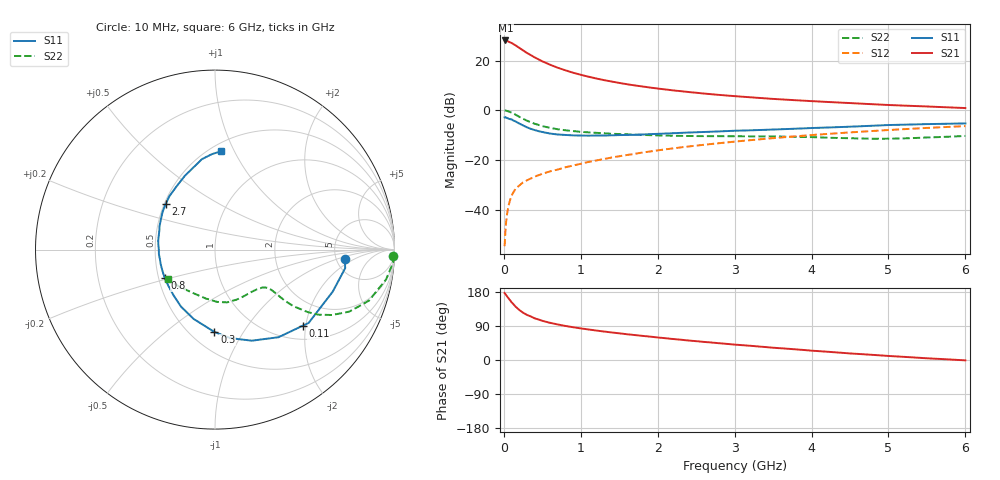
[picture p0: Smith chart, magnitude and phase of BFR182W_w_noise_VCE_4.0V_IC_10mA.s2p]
! Infineon Technologies  Discrete & RF Semiconductors
! BFR182W
! VCE =  4.0 V,  IC =  10 mA
! Common Emitter S-Parameters:  Jan 2017
# GHz  S  MA  R  50
!  f  S11  S21  S12  S22
! GHz  MAG  ANG  MAG  ANG  MAG  ANG  MAG  ANG
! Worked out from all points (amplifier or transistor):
!   77 points, 10 MHz to 6 GHz, reference 50 ohm
!   highest |S21| = 28.0 dB at 20 MHz (marker M1)
!   |S21| within 3 dB of that: start of sweep to 202.3 MHz
!   unconditionally stable (mu >= 1): 1.093 GHz to 2.645 GHz
!   at 130 MHz: K = 0.28, MSG = 29.5 dB, |S12| = -32.5 dB
!   at 2.2 GHz: K = 1.03, MAG = 10.7 dB, |S12| = -15.2 dB
!   at 6 GHz: K = 0.86, MSG = 3.6 dB, |S12| = -6.3 dB
!   lowest NFmin = 1.07 dB at 450 MHz
!   S11 on the Smith chart (normalised r, x): 10 MHz: 5.96, -1.30; 110 MHz: 1.32, -1.92; 300 MHz: 0.65, -0.75; 800 MHz: 0.54, -0.19; 2.7 GHz: 0.51, +0.30; 6 GHz: 0.57, +0.89
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0.01  0.7243 -4.1  25.09 176.8  0.0019 89.0  0.995 -1.9
0.02  0.7329 -8.1  25.23 174.1  0.0037 89.2  0.9944 -4.2
0.05  0.6964 -19.7  24.41 165.5  0.01 80.8  0.9675 -9.9
0.1  0.6626 -38.1  22.54 152.4  0.0195 74.7  0.9042 -18.3
0.11  0.6468 -41.0  22.02 150.4  0.0208 72.9  0.8873 -19.5
0.15  0.6028 -54.1  20.24 141.3  0.0264 67.4  0.8239 -24.8
0.2  0.5473 -68.0  17.96 132.2  0.0312 63.9  0.7469 -29.2
0.25  0.5004 -80.2  15.97 124.7  0.0361 61.4  0.6803 -32.2
0.3  0.4588 -90.4  14.18 119.0  0.0396 60.1  0.6221 -34.0
0.4  0.4039 -107.3  11.56 110.0  0.0469 59.4  0.5402 -35.8
0.5  0.3692 -121.1  9.625 103.4  0.0535 59.5  0.4848 -36.2
0.6  0.3435 -132.4  8.242 98.1  0.06 60.8  0.4466 -36.0
0.8  0.3222 -150.3  6.363 89.9  0.0725 63.1  0.4001 -35.6
0.9  0.3159 -157.7  5.693 86.5  0.0785 63.1  0.3851 -35.6
1.1  0.3117 -170.2  4.738 80.6  0.0926 64.4  0.363 -36.1
1.5  0.3201 171.4  3.553 70.4  0.1205 65.1  0.3356 -39.3
2.1  0.3436 151.7  2.631 57.5  0.1656 63.8  0.3128 -48.4
2.7  0.3742 137.1  2.111 46.1  0.2123 60.9  0.3046 -60.7
3.1  0.3947 128.6  1.882 39.1  0.2447 58.4  0.3024 -68.9
4.1  0.4484 110.9  1.507 23.3  0.3286 50.6  0.2876 -90.1
5.1  0.5132 96.9  1.266 9.5  0.4125 41.4  0.2726 -120.9
6  0.5489 86.5  1.115 -0.9  0.4845 32.4  0.3082 -147.7
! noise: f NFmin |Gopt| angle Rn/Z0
0.45  1.07  0.08  50  0.15
0.9  1.15  0.07  86  0.15
1.9  1.65  0.19  -164  0.13
2.4  1.9  0.18  -156  0.2
